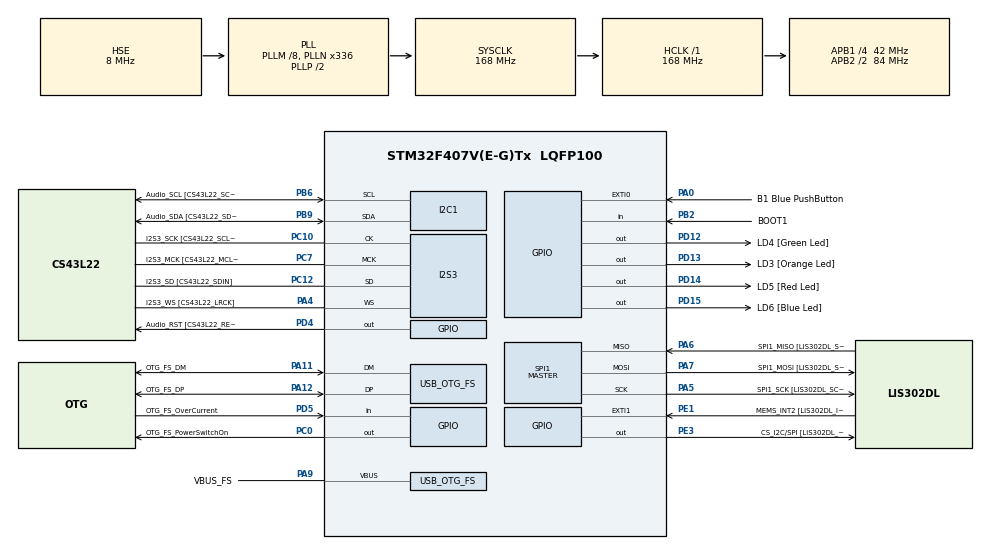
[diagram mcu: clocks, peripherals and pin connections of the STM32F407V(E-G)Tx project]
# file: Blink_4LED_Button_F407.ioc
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I2S3.AudioFreq-Half_Duplex_Master=I2S_AUDIOFREQ_96K
I2S3.ErrorAudioFreq=-2.34 %
I2S3.ErrorAudioFreq-Half_Duplex_Master=0.8 %
I2S3.FullDuplexMode=I2S_FULLDUPLEXMODE_DISABLE
I2S3.Instance=SPI$Index
I2S3.RealAudioFreq=93.75 KHz
I2S3.RealAudioFreq-Half_Duplex_Master=96.774 KHz
I2S3.VirtualMode=I2S_MODE_MASTER
Mcu.Family=STM32F4
Mcu.Name=STM32F407V(E-G)Tx
Mcu.Package=LQFP100
NVIC.EXTI0_IRQn=true\:0\:0\:false\:false\:true\:true\:true\:true
NVIC.OTG_FS_IRQn=true\:0\:0\:false\:false\:true\:true\:true\:true
NVIC.PriorityGroup=NVIC_PRIORITYGROUP_0
PA0-WKUP.GPIO_Label=B1 Blue PushButton
PA0-WKUP.Signal=GPXTI0
PA10.GPIO_Label=OTG_FS_ID
PA10.GPIO_Mode=GPIO_MODE_AF_PP
PA10.GPIO_PuPd=GPIO_NOPULL
PA10.GPIO_Speed=GPIO_SPEED_FREQ_LOW
PA10.Signal=USB_OTG_FS_ID
PA11.GPIO_Label=OTG_FS_DM
PA11.GPIO_Mode=GPIO_MODE_AF_PP
PA11.GPIO_PuPd=GPIO_NOPULL
PA11.GPIO_Speed=GPIO_SPEED_FREQ_LOW
PA11.Mode=Host_Only
PA11.Signal=USB_OTG_FS_DM
PA12.GPIO_Label=OTG_FS_DP
PA12.GPIO_Mode=GPIO_MODE_AF_PP
PA12.GPIO_PuPd=GPIO_NOPULL
PA12.GPIO_Speed=GPIO_SPEED_FREQ_LOW
PA12.Mode=Host_Only
PA12.Signal=USB_OTG_FS_DP
PA13.GPIO_Label=SWDIO
PA13.Mode=Serial_Wire
PA13.Signal=SYS_JTMS-SWDIO
PA14.GPIO_Label=SWCLK
PA14.Mode=Serial_Wire
PA14.Signal=SYS_JTCK-SWCLK
PA4.GPIO_Label=I2S3_WS [CS43L22_LRCK]
PA4.GPIO_Mode=GPIO_MODE_AF_PP
PA4.GPIO_PuPd=GPIO_NOPULL
PA4.GPIO_Speed=GPIO_SPEED_FREQ_LOW
PA4.Mode=Half_Duplex_Master
PA4.Signal=I2S3_WS
PA5.GPIO_Label=SPI1_SCK [LIS302DL_SCL/SPC]
PA5.GPIO_Mode=GPIO_MODE_AF_PP
PA5.GPIO_PuPd=GPIO_NOPULL
PA5.GPIO_Speed=GPIO_SPEED_FREQ_LOW
PA5.Mode=Full_Duplex_Master
PA5.Signal=SPI1_SCK
PA6.GPIO_Label=SPI1_MISO [LIS302DL_SDO]
PA6.GPIO_Mode=GPIO_MODE_AF_PP
PA6.GPIO_PuPd=GPIO_NOPULL
PA6.GPIO_Speed=GPIO_SPEED_FREQ_LOW
PA6.Mode=Full_Duplex_Master
PA6.Signal=SPI1_MISO
PA7.GPIO_Label=SPI1_MOSI [LIS302DL_SDA/SDI/SDO]
PA7.GPIO_Mode=GPIO_MODE_AF_PP
PA7.GPIO_PuPd=GPIO_NOPULL
PA7.GPIO_Speed=GPIO_SPEED_FREQ_LOW
PA7.Mode=Full_Duplex_Master
PA7.Signal=SPI1_MOSI
PA9.GPIO_Label=VBUS_FS
PA9.GPIO_Mode=GPIO_MODE_INPUT
PA9.GPIO_PuPd=GPIO_NOPULL
PA9.Mode=Activate_VBUS
PA9.Signal=USB_OTG_FS_VBUS
PB10.GPIO_Label=CLK_IN [MP45DT02_CLK]
PB10.GPIO_Mode=GPIO_MODE_AF_PP
PB10.GPIO_PuPd=GPIO_NOPULL
PB10.GPIO_Speed=GPIO_SPEED_FREQ_LOW
PB10.Signal=I2S2_CK
PB2.GPIO_Label=BOOT1
PB2.GPIO_Mode=GPIO_MODE_INPUT
PB2.GPIO_PuPd=GPIO_NOPULL
PB2.Signal=GPIO_Input
PB3.GPIO_Label=SWO
PB3.Signal=SYS_JTDO-SWO
PB6.GPIO_Label=Audio_SCL [CS43L22_SCL]
PB6.GPIO_Mode=GPIO_MODE_AF_OD
PB6.GPIO_Pu=GPIO_PULLUP
PB6.GPIO_PuPd=GPIO_NOPULL
PB6.GPIO_Speed=GPIO_SPEED_FREQ_LOW
PB6.Mode=I2C
PB6.Signal=I2C1_SCL
PB9.GPIO_Label=Audio_SDA [CS43L22_SDA]
PB9.GPIO_Mode=GPIO_MODE_AF_OD
PB9.GPIO_Pu=GPIO_PULLUP
PB9.GPIO_PuPd=GPIO_NOPULL
PB9.GPIO_Speed=GPIO_SPEED_FREQ_LOW
PB9.Mode=I2C
PB9.Signal=I2C1_SDA
PC0.GPIO_Label=OTG_FS_PowerSwitchOn
PC0.GPIO_PuPd=GPIO_NOPULL
PC0.GPIO_Speed=GPIO_SPEED_FREQ_LOW
PC0.PinState=GPIO_PIN_SET
PC0.Signal=GPIO_Output
PC10.GPIO_Label=I2S3_SCK [CS43L22_SCLK]
PC10.GPIO_Mode=GPIO_MODE_AF_PP
PC10.GPIO_PuPd=GPIO_NOPULL
PC10.GPIO_Speed=GPIO_SPEED_FREQ_LOW
PC10.Mode=Half_Duplex_Master
PC10.Signal=I2S3_CK
PC12.GPIO_Label=I2S3_SD [CS43L22_SDIN]
PC12.GPIO_Mode=GPIO_MODE_AF_PP
PC12.GPIO_PuPd=GPIO_NOPULL
PC12.GPIO_Speed=GPIO_SPEED_FREQ_LOW
PC12.Mode=Half_Duplex_Master
PC12.Signal=I2S3_SD
PC14-OSC32_IN.GPIO_Label=PC14-OSC32_IN
PC14-OSC32_IN.Mode=LSE-External-Oscillator
PC14-OSC32_IN.Signal=RCC_OSC32_IN
PC15-OSC32_OUT.GPIO_Label=PC15-OSC32_OUT
PC15-OSC32_OUT.Mode=LSE-External-Oscillator
PC15-OSC32_OUT.Signal=RCC_OSC32_OUT
PC3.GPIO_Label=PDM_OUT [MP45DT02_DOUT]
PC3.GPIO_Mode=GPIO_MODE_AF_PP
PC3.GPIO_PuPd=GPIO_NOPULL
PC3.GPIO_Speed=GPIO_SPEED_FREQ_LOW
PC3.Signal=I2S2_SD
PC7.GPIO_Label=I2S3_MCK [CS43L22_MCLK]
PC7.GPIO_Mode=GPIO_MODE_AF_PP
PC7.GPIO_PuPd=GPIO_NOPULL
PC7.GPIO_Speed=GPIO_SPEED_FREQ_LOW
PC7.Mode=Master_Clock_Activated
PC7.Signal=I2S3_MCK
PD12.GPIO_Label=LD4 [Green Led]
PD12.GPIO_PuPd=GPIO_NOPULL
PD12.GPIO_Speed=GPIO_SPEED_FREQ_LOW
PD12.Signal=GPIO_Output
PD13.GPIO_Label=LD3 [Orange Led]
PD13.GPIO_PuPd=GPIO_NOPULL
PD13.GPIO_Speed=GPIO_SPEED_FREQ_LOW
PD13.Signal=GPIO_Output
PD14.GPIO_Label=LD5 [Red Led]
PD14.GPIO_PuPd=GPIO_NOPULL
PD14.GPIO_Speed=GPIO_SPEED_FREQ_LOW
PD14.Signal=GPIO_Output
PD15.GPIO_Label=LD6 [Blue Led]
PD15.GPIO_PuPd=GPIO_NOPULL
PD15.GPIO_Speed=GPIO_SPEED_FREQ_LOW
PD15.Signal=GPIO_Output
PD4.GPIO_Label=Audio_RST [CS43L22_RESET]
PD4.GPIO_PuPd=GPIO_NOPULL
PD4.GPIO_Speed=GPIO_SPEED_FREQ_LOW
PD4.Signal=GPIO_Output
PD5.GPIO_Label=OTG_FS_OverCurrent
PD5.GPIO_Mode=GPIO_MODE_INPUT
PD5.GPIO_PuPd=GPIO_NOPULL
PD5.Signal=GPIO_Input
PE1.GPIO_Label=MEMS_INT2 [LIS302DL_INT2]
PE1.GPIO_ModeDefaultEXTI=GPIO_MODE_EVT_RISING
PE1.GPIO_PuPd=GPIO_NOPULL
PE1.Signal=GPXTI1
PE3.GPIO_Label=CS_I2C/SPI [LIS302DL_CS_I2C/SPI]
PE3.GPIO_PuPd=GPIO_NOPULL
PE3.GPIO_Speed=GPIO_SPEED_FREQ_LOW
PE3.Signal=GPIO_Output
PH0-OSC_IN.GPIO_Label=PH0-OSC_IN
PH0-OSC_IN.Mode=HSE-External-Oscillator
PH0-OSC_IN.Signal=RCC_OSC_IN
PH1-OSC_OUT.GPIO_Label=PH1-OSC_OUT
PH1-OSC_OUT.Mode=HSE-External-Oscillator
PH1-OSC_OUT.Signal=RCC_OSC_OUT
ProjectManager.HeapSize=0x200
ProjectManager.StackSize=0x400
ProjectManager.TargetToolchain=STM32CubeIDE
RCC.48MHZClocksFreq_Value=48000000
RCC.AHBFreq_Value=168000000
RCC.APB1CLKDivider=RCC_HCLK_DIV4
RCC.APB1Freq_Value=42000000
RCC.APB1TimFreq_Value=84000000
RCC.APB2CLKDivider=RCC_HCLK_DIV2
RCC.APB2Freq_Value=84000000
RCC.APB2TimFreq_Value=168000000
RCC.CortexFreq_Value=168000000
RCC.HCLKFreq_Value=168000000
RCC.HSE_VALUE=8000000
RCC.HSI_VALUE=16000000
RCC.PLLM=8
RCC.PLLN=336
RCC.PLLQ=7
RCC.SYSCLKFreq_VALUE=168000000
RCC.SYSCLKSource=RCC_SYSCLKSOURCE_PLLCLK
RCC.VCOOutputFreq_Value=336000000
SPI1.BaudRatePrescaler-Full_Duplex_Master=SPI_BAUDRATEPRESCALER_2
SPI1.CalculateBaudRate-Full_Duplex_Master=42.0 MBits/s
SPI1.Direction=SPI_DIRECTION_2LINES
SPI1.Mode=SPI_MODE_MASTER
SPI1.Mode-Full_Duplex_Master=SPI_MODE_MASTER
SPI1.VirtualType=VM_MASTER
USB_HOST.BSP.number=1
USB_HOST.USBH_HandleTypeDef-CDC_FS=hUsbHostFS
USB_HOST.VirtualModeFS=Cdc
USB_HOST0.BSP.STBoard=false
USB_HOST0.BSP.api=Unknown
USB_HOST0.BSP.instance=PC0
USB_HOST0.BSP.ip=GPIO
USB_HOST0.BSP.mode=Output
USB_HOST0.BSP.name=Drive_VBUS_FS
USB_HOST0.BSP.solution=PC0
USB_OTG_FS.VirtualMode=Host_Only
USB_OTG_FS.phy_itface=HCD_PHY_EMBEDDED
VP_USB_HOST_VS_USB_HOST_CDC_FS.Mode=CDC_FS
board=STM32F407G-DISC1

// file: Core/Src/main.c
/* USER CODE BEGIN Header */
/**
  ******************************************************************************
  * @file           : main.c
  * @brief          : Main program body
  * @Author			: Antón Souto García
  ******************************************************************************
  * @attention
  *
  * Copyright (c) 2026 STMicroelectronics.
  * All rights reserved.
  *
  * This software is licensed under terms that can be found in the LICENSE file
  * in the root directory of this software component.
  * If no LICENSE file comes with this software, it is provided AS-IS.
  *
  ******************************************************************************
  */
/* USER CODE END Header */
#include "main.h"
#include "usb_host.h"

I2C_HandleTypeDef hi2c1;

I2S_HandleTypeDef hi2s3;

SPI_HandleTypeDef hspi1;

/* USER CODE BEGIN PV */

volatile uint8_t g_mode = 0U;
volatile uint8_t g_led_index = 0U;
volatile uint32_t g_last_button_tick = 0U;
volatile uint32_t g_last_led_tick = 0U;

static const uint16_t g_led_pins[4] = {
    LD4_Pin,   // PD12 - Green LED
    LD3_Pin,   // PD13 - Orange LED
    LD5_Pin,   // PD14 - Red LED
    LD6_Pin    // PD15 - Blue LED
};

static const uint16_t g_all_led_pins = LD4_Pin | LD3_Pin | LD5_Pin | LD6_Pin;

static const uint32_t g_led_step_ms = 200U;
static const uint32_t g_button_debounce_ms = 200U;

/* USER CODE END PV */

void SystemClock_Config(void);
static void MX_GPIO_Init(void);
static void MX_I2C1_Init(void);
static void MX_I2S3_Init(void);
static void MX_SPI1_Init(void);
void MX_USB_HOST_Process(void);

int main(void)
{

  /* MCU Configuration--------------------------------------------------------*/

  /* Reset of all peripherals, Initializes the Flash interface and the Systick. */
  HAL_Init();

  /* Configure the system clock */
  SystemClock_Config();

  /* Initialize all configured peripherals */
  MX_GPIO_Init();
  MX_I2C1_Init();
  MX_I2S3_Init();
  MX_SPI1_Init();
  MX_USB_HOST_Init();

  /* Infinite loop */
  /* USER CODE BEGIN WHILE */
  /* USER CODE BEGIN WHILE */
  while (1)
  {
    /* USER CODE END WHILE */
    MX_USB_HOST_Process();

    /* USER CODE BEGIN 3 */

    uint32_t now = HAL_GetTick();
    uint8_t current_mode = g_mode;

    if (current_mode == 0U)
    {
      // Modo 0: todos los LEDs apagados
      HAL_GPIO_WritePin(GPIOD, g_all_led_pins, GPIO_PIN_RESET);
    }
    else if ((now - g_last_led_tick) >= g_led_step_ms)
    {
      g_last_led_tick = now;

      // Apagamos todos y encendemos solo el LED actual
      HAL_GPIO_WritePin(GPIOD, g_all_led_pins, GPIO_PIN_RESET);
      HAL_GPIO_WritePin(GPIOD, g_led_pins[g_led_index], GPIO_PIN_SET);

      if (current_mode == 1U)
      {
        // Modo 1: rotación normal
        g_led_index++;

        if (g_led_index >= 4U)
        {
          g_led_index = 0U;
        }
      }
      else if (current_mode == 2U)
      {
        // Modo 2: rotación inversa
        if (g_led_index == 0U)
        {
          g_led_index = 3U;
        }
        else
        {
          g_led_index--;
        }
      }
    }

    /* USER CODE END 3 */
  }
  /* USER CODE END WHILE */
}

void SystemClock_Config(void)
{
  RCC_OscInitTypeDef RCC_OscInitStruct = {0};
  RCC_ClkInitTypeDef RCC_ClkInitStruct = {0};

  /** Configure the main internal regulator output voltage
  */
  __HAL_RCC_PWR_CLK_ENABLE();
  __HAL_PWR_VOLTAGESCALING_CONFIG(PWR_REGULATOR_VOLTAGE_SCALE1);

  /** Initializes the RCC Oscillators according to the specified parameters
  * in the RCC_OscInitTypeDef structure.
  */
  RCC_OscInitStruct.OscillatorType = RCC_OSCILLATORTYPE_HSE;
  RCC_OscInitStruct.HSEState = RCC_HSE_ON;
  RCC_OscInitStruct.PLL.PLLState = RCC_PLL_ON;
  RCC_OscInitStruct.PLL.PLLSource = RCC_PLLSOURCE_HSE;
  RCC_OscInitStruct.PLL.PLLM = 8;
  RCC_OscInitStruct.PLL.PLLN = 336;
  RCC_OscInitStruct.PLL.PLLP = RCC_PLLP_DIV2;
  RCC_OscInitStruct.PLL.PLLQ = 7;
  if (HAL_RCC_OscConfig(&RCC_OscInitStruct) != HAL_OK)
  {
    Error_Handler();
  }

  /** Initializes the CPU, AHB and APB buses clocks
  */
  RCC_ClkInitStruct.ClockType = RCC_CLOCKTYPE_HCLK|RCC_CLOCKTYPE_SYSCLK
                              |RCC_CLOCKTYPE_PCLK1|RCC_CLOCKTYPE_PCLK2;
  RCC_ClkInitStruct.SYSCLKSource = RCC_SYSCLKSOURCE_PLLCLK;
  RCC_ClkInitStruct.AHBCLKDivider = RCC_SYSCLK_DIV1;
  RCC_ClkInitStruct.APB1CLKDivider = RCC_HCLK_DIV4;
  RCC_ClkInitStruct.APB2CLKDivider = RCC_HCLK_DIV2;

  if (HAL_RCC_ClockConfig(&RCC_ClkInitStruct, FLASH_LATENCY_5) != HAL_OK)
  {
    Error_Handler();
  }
}

static void MX_I2C1_Init(void)
{

  hi2c1.Instance = I2C1;
  hi2c1.Init.ClockSpeed = 100000;
  hi2c1.Init.DutyCycle = I2C_DUTYCYCLE_2;
  hi2c1.Init.OwnAddress1 = 0;
  hi2c1.Init.AddressingMode = I2C_ADDRESSINGMODE_7BIT;
  hi2c1.Init.DualAddressMode = I2C_DUALADDRESS_DISABLE;
  hi2c1.Init.OwnAddress2 = 0;
  hi2c1.Init.GeneralCallMode = I2C_GENERALCALL_DISABLE;
  hi2c1.Init.NoStretchMode = I2C_NOSTRETCH_DISABLE;
  if (HAL_I2C_Init(&hi2c1) != HAL_OK)
  {
    Error_Handler();
  }

}

static void MX_I2S3_Init(void)
{

  hi2s3.Instance = SPI3;
  hi2s3.Init.Mode = I2S_MODE_MASTER_TX;
  hi2s3.Init.Standard = I2S_STANDARD_PHILIPS;
  hi2s3.Init.DataFormat = I2S_DATAFORMAT_16B;
  hi2s3.Init.MCLKOutput = I2S_MCLKOUTPUT_ENABLE;
  hi2s3.Init.AudioFreq = I2S_AUDIOFREQ_96K;
  hi2s3.Init.CPOL = I2S_CPOL_LOW;
  hi2s3.Init.ClockSource = I2S_CLOCK_PLL;
  hi2s3.Init.FullDuplexMode = I2S_FULLDUPLEXMODE_DISABLE;
  if (HAL_I2S_Init(&hi2s3) != HAL_OK)
  {
    Error_Handler();
  }

}

static void MX_SPI1_Init(void)
{

  /* SPI1 parameter configuration*/
  hspi1.Instance = SPI1;
  hspi1.Init.Mode = SPI_MODE_MASTER;
  hspi1.Init.Direction = SPI_DIRECTION_2LINES;
  hspi1.Init.DataSize = SPI_DATASIZE_8BIT;
  hspi1.Init.CLKPolarity = SPI_POLARITY_LOW;
  hspi1.Init.CLKPhase = SPI_PHASE_1EDGE;
  hspi1.Init.NSS = SPI_NSS_SOFT;
  hspi1.Init.BaudRatePrescaler = SPI_BAUDRATEPRESCALER_2;
  hspi1.Init.FirstBit = SPI_FIRSTBIT_MSB;
  hspi1.Init.TIMode = SPI_TIMODE_DISABLE;
  hspi1.Init.CRCCalculation = SPI_CRCCALCULATION_DISABLE;
  hspi1.Init.CRCPolynomial = 10;
  if (HAL_SPI_Init(&hspi1) != HAL_OK)
  {
    Error_Handler();
  }

}

static void MX_GPIO_Init(void)
{
  GPIO_InitTypeDef GPIO_InitStruct = {0};

  /* GPIO Ports Clock Enable */
  __HAL_RCC_GPIOE_CLK_ENABLE();
  __HAL_RCC_GPIOC_CLK_ENABLE();
  __HAL_RCC_GPIOH_CLK_ENABLE();
  __HAL_RCC_GPIOA_CLK_ENABLE();
  __HAL_RCC_GPIOB_CLK_ENABLE();
  __HAL_RCC_GPIOD_CLK_ENABLE();

  /*Configure GPIO pin Output Level */
  HAL_GPIO_WritePin(CS_I2C_SPI_GPIO_Port, CS_I2C_SPI_Pin, GPIO_PIN_RESET);

  /*Configure GPIO pin Output Level */
  HAL_GPIO_WritePin(OTG_FS_PowerSwitchOn_GPIO_Port, OTG_FS_PowerSwitchOn_Pin, GPIO_PIN_SET);

  /*Configure GPIO pin Output Level */
  HAL_GPIO_WritePin(GPIOD, LD4_Pin|LD3_Pin|LD5_Pin|LD6_Pin
                          |Audio_RST_Pin, GPIO_PIN_RESET);

  /*Configure GPIO pin : CS_I2C_SPI_Pin */
  GPIO_InitStruct.Pin = CS_I2C_SPI_Pin;
  GPIO_InitStruct.Mode = GPIO_MODE_OUTPUT_PP;
  GPIO_InitStruct.Pull = GPIO_NOPULL;
  GPIO_InitStruct.Speed = GPIO_SPEED_FREQ_LOW;
  HAL_GPIO_Init(CS_I2C_SPI_GPIO_Port, &GPIO_InitStruct);

  /*Configure GPIO pin : OTG_FS_PowerSwitchOn_Pin */
  GPIO_InitStruct.Pin = OTG_FS_PowerSwitchOn_Pin;
  GPIO_InitStruct.Mode = GPIO_MODE_OUTPUT_PP;
  GPIO_InitStruct.Pull = GPIO_NOPULL;
  GPIO_InitStruct.Speed = GPIO_SPEED_FREQ_LOW;
  HAL_GPIO_Init(OTG_FS_PowerSwitchOn_GPIO_Port, &GPIO_InitStruct);

  /*Configure GPIO pin : PDM_OUT_Pin */
  GPIO_InitStruct.Pin = PDM_OUT_Pin;
  GPIO_InitStruct.Mode = GPIO_MODE_AF_PP;
  GPIO_InitStruct.Pull = GPIO_NOPULL;
  GPIO_InitStruct.Speed = GPIO_SPEED_FREQ_LOW;
  GPIO_InitStruct.Alternate = GPIO_AF5_SPI2;
  HAL_GPIO_Init(PDM_OUT_GPIO_Port, &GPIO_InitStruct);

  /*Configure GPIO pin : B1_Blue_PushButton_Pin */
  GPIO_InitStruct.Pin = B1_Blue_PushButton_Pin;
  GPIO_InitStruct.Mode = GPIO_MODE_IT_RISING;
  GPIO_InitStruct.Pull = GPIO_NOPULL;
  HAL_GPIO_Init(B1_Blue_PushButton_GPIO_Port, &GPIO_InitStruct);

  /*Configure GPIO pin : BOOT1_Pin */
  GPIO_InitStruct.Pin = BOOT1_Pin;
  GPIO_InitStruct.Mode = GPIO_MODE_INPUT;
  GPIO_InitStruct.Pull = GPIO_NOPULL;
  HAL_GPIO_Init(BOOT1_GPIO_Port, &GPIO_InitStruct);

  /*Configure GPIO pin : CLK_IN_Pin */
  GPIO_InitStruct.Pin = CLK_IN_Pin;
  GPIO_InitStruct.Mode = GPIO_MODE_AF_PP;
  GPIO_InitStruct.Pull = GPIO_NOPULL;
  GPIO_InitStruct.Speed = GPIO_SPEED_FREQ_LOW;
  GPIO_InitStruct.Alternate = GPIO_AF5_SPI2;
  HAL_GPIO_Init(CLK_IN_GPIO_Port, &GPIO_InitStruct);

  /*Configure GPIO pins : LD4_Pin LD3_Pin LD5_Pin LD6_Pin
                           Audio_RST_Pin */
  GPIO_InitStruct.Pin = LD4_Pin|LD3_Pin|LD5_Pin|LD6_Pin
                          |Audio_RST_Pin;
  GPIO_InitStruct.Mode = GPIO_MODE_OUTPUT_PP;
  GPIO_InitStruct.Pull = GPIO_NOPULL;
  GPIO_InitStruct.Speed = GPIO_SPEED_FREQ_LOW;
  HAL_GPIO_Init(GPIOD, &GPIO_InitStruct);

  /*Configure GPIO pin : OTG_FS_OverCurrent_Pin */
  GPIO_InitStruct.Pin = OTG_FS_OverCurrent_Pin;
  GPIO_InitStruct.Mode = GPIO_MODE_INPUT;
  GPIO_InitStruct.Pull = GPIO_NOPULL;
  HAL_GPIO_Init(OTG_FS_OverCurrent_GPIO_Port, &GPIO_InitStruct);

  /*Configure GPIO pin : MEMS_INT2_Pin */
  GPIO_InitStruct.Pin = MEMS_INT2_Pin;
  GPIO_InitStruct.Mode = GPIO_MODE_EVT_RISING;
  GPIO_InitStruct.Pull = GPIO_NOPULL;
  HAL_GPIO_Init(MEMS_INT2_GPIO_Port, &GPIO_InitStruct);

  /* EXTI interrupt init*/
  HAL_NVIC_SetPriority(EXTI0_IRQn, 0, 0);
  HAL_NVIC_EnableIRQ(EXTI0_IRQn);

}

/* USER CODE BEGIN 4 */

void HAL_GPIO_EXTI_Callback(uint16_t GPIO_Pin)
{
  if (GPIO_Pin == B1_Blue_PushButton_Pin)
  {
    uint32_t now = HAL_GetTick();

    // Antirrebote software: ignora pulsaciones demasiado cercanas
    if ((now - g_last_button_tick) >= g_button_debounce_ms)
    {
      g_last_button_tick = now;

      // Cambia de modo: 0 -> 1 -> 2 -> 0 -> ...
      g_mode++;

      if (g_mode > 2U)
      {
        g_mode = 0U;
      }

      // Reinicia la secuencia desde el primer LED
      g_led_index = 0U;

      // Fuerza que la nueva animación empiece casi inmediatamente
      g_last_led_tick = now - g_led_step_ms;
    }
  }
}

/* USER CODE END 4 */

void Error_Handler(void)
{
  __disable_irq();
  while (1)
  {
  }
}
